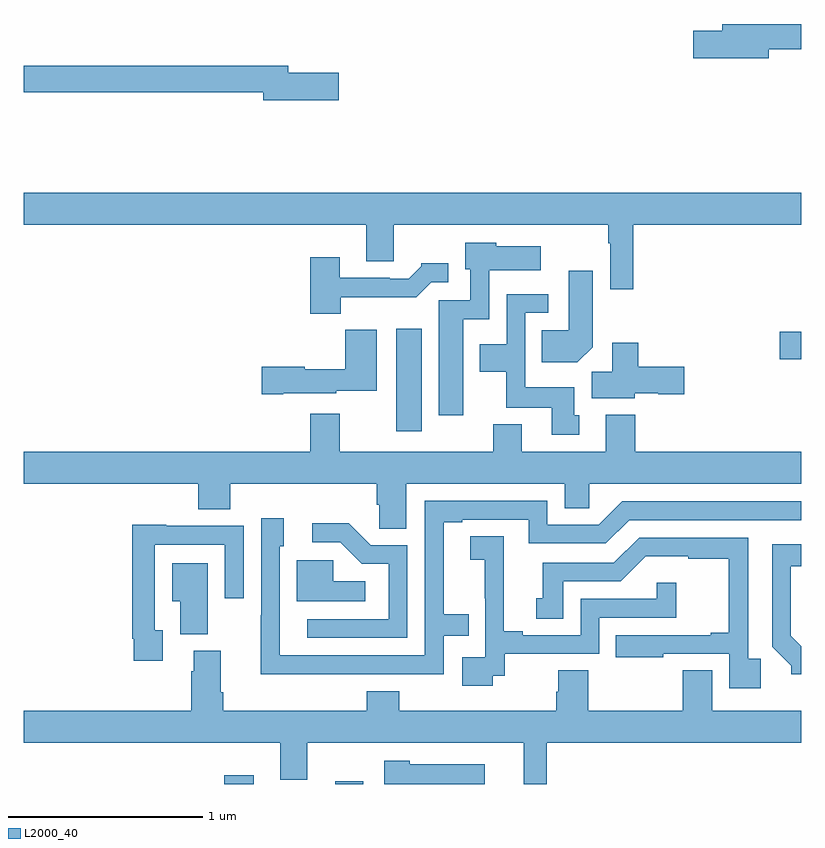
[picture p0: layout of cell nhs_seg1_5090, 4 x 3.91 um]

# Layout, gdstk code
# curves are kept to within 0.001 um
import gdstk
lib = gdstk.Library(unit=1e-6, precision=1e-09)
def R(c, l, rs):  # rectangles x0, y0, x1, y1
    for r in rs: c.add(gdstk.rectangle(r[:2], r[2:], *l))
def P(c, l, *ps):  # polygons
    for p in ps: c.add(gdstk.Polygon(p, *l))
L2000_40 = (2000, 40)

nhs_seg1_5090 = lib.new_cell('nhs_seg1_5090')
R(nhs_seg1_5090, L2000_40, [(388.031,538.199,388.183,538.243), (388.602,538.199,388.747,538.213), (388.916,540.012,389.047,540.541), (390.888,540.382,391,540.524)])
P(nhs_seg1_5090, L2000_40, [(390.832,541.978),(391,541.978),(391,542.107),(390.593,542.107),(390.593,542.073),(390.444,542.073),(390.444,541.931),(390.832,541.931)],
  [(388.621,541.856),(388.36,541.856),(388.36,541.892),(387,541.892),(387,541.756),(388.232,541.756),(388.232,541.714),(388.621,541.714)],
  [(390.134,541.076),(391,541.076),(391,541.24),(387,541.24),(387,541.076),(388.763,541.076),(388.763,540.886),(388.903,540.886),(388.903,541.076),(390.006,541.076),(390.006,540.98),(390.018,540.98),(390.018,540.744),(390.134,540.744)],
  [(389.26,540.59),(389.394,540.59),(389.394,540.842),(389.659,540.842),(389.659,540.964),(389.43,540.964),(389.43,540.982),(389.27,540.982),(389.27,540.846),(389.298,540.846),(389.298,540.687),(389.135,540.687),(389.135,540.096),(389.26,540.096)],
  [(388.63,540.702),(389.019,540.702),(389.097,540.78),(389.185,540.78),(389.185,540.877),(389.046,540.877),(389.046,540.862),(388.982,540.798),(388.883,540.798),(388.883,540.801),(388.627,540.801),(388.627,540.907),(388.475,540.907),(388.475,540.617),(388.63,540.617)],
  [(389.926,540.446),(389.926,540.838),(389.804,540.838),(389.804,540.532),(389.665,540.532),(389.665,540.368),(389.848,540.368)],
  [(389.857,540.096),(389.833,540.096),(389.833,540.238),(389.58,540.238),(389.58,540.621),(389.698,540.621),(389.698,540.717),(389.484,540.717),(389.484,540.46),(389.345,540.46),(389.345,540.32),(389.482,540.32),(389.482,540.134),(389.717,540.134),(389.717,539.994),(389.857,539.994)],
  [(388.336,540.209),(388.608,540.209),(388.608,540.221),(388.816,540.221),(388.816,540.535),(388.654,540.535),(388.654,540.331),(388.446,540.331),(388.446,540.344),(388.224,540.344),(388.224,540.202),(388.336,540.202)],
  [(390.144,540.209),(390.264,540.209),(390.264,540.202),(390.397,540.202),(390.397,540.344),(390.161,540.344),(390.161,540.469),(390.026,540.469),(390.026,540.32),(389.921,540.32),(389.921,540.182),(390.144,540.182)],
  [(388.969,539.744),(389.783,539.744),(389.783,539.617),(389.91,539.617),(389.91,539.744),(391,539.744),(391,539.908),(390.146,539.908),(390.146,540.097),(389.993,540.097),(389.993,539.908),(389.563,539.908),(389.563,540.049),(389.416,540.049),(389.416,539.908),(388.627,539.908),(388.627,540.103),(388.475,540.103),(388.475,539.908),(387,539.908),(387,539.744),(387.899,539.744),(387.899,539.611),(388.064,539.611),(388.064,539.744),(388.817,539.744),(388.817,539.635),(388.83,539.635),(388.83,539.512),(388.969,539.512)],
  [(388.682,538.764),(389.16,538.764),(389.16,538.962),(389.288,538.962),(389.288,539.071),(389.161,539.071),(389.161,539.544),(389.257,539.544),(389.257,539.559),(389.598,539.559),(389.598,539.436),(389.994,539.436),(390.114,539.556),(391,539.556),(391,539.652),(390.078,539.652),(389.958,539.532),(389.694,539.532),(389.694,539.655),(389.064,539.655),(389.064,538.86),(388.317,538.86),(388.317,539.421),(388.339,539.421),(388.339,539.566),(388.221,539.566),(388.22,538.763)],
  [(388.974,539.427),(388.785,539.427),(388.672,539.54),(388.485,539.54),(388.485,539.442),(388.629,539.442),(388.74,539.331),(388.878,539.331),(388.878,539.046),(388.458,539.046),(388.458,538.95),(388.974,538.95)],
  [(387.715,538.989),(387.675,538.989),(387.675,539.43),(388.035,539.43),(388.035,539.154),(388.131,539.154),(388.131,539.526),(387.735,539.526),(387.735,539.533),(387.559,539.533),(387.559,538.945),(387.567,538.945),(387.567,538.833),(387.715,538.833)],
  [(389.412,538.755),(389.474,538.755),(389.474,538.869),(389.961,538.869),(389.961,539.055),(390.356,539.055),(390.356,539.233),(390.255,539.233),(390.255,539.151),(389.865,539.151),(389.865,538.965),(389.566,538.965),(389.566,538.985),(389.47,538.985),(389.47,539.363),(389.468,539.363),(389.468,539.474),(389.298,539.474),(389.298,539.353),(389.372,539.353),(389.372,539.155),(389.373,539.155),(389.373,538.851),(389.256,538.851),(389.256,538.704),(389.412,538.704)],
  [(390.791,538.843),(390.726,538.843),(390.726,539.466),(390.165,539.466),(390.036,539.337),(389.669,539.337),(389.669,539.154),(389.636,539.154),(389.636,539.05),(389.776,539.05),(389.776,539.241),(390.072,539.241),(390.2,539.369),(390.419,539.369),(390.419,539.358),(390.625,539.358),(390.625,538.978),(390.533,538.978),(390.533,538.965),(390.046,538.965),(390.046,538.85),(390.289,538.85),(390.289,538.869),(390.63,538.869),(390.63,538.692),(390.791,538.692)],
  [(391,538.907),(390.946,538.961),(390.946,539.318),(391,539.318),(391,539.431),(390.849,539.431),(390.849,538.906),(390.948,538.807),(390.948,538.763),(391,538.763)],
  [(388.756,539.242),(388.593,539.242),(388.593,539.349),(388.406,539.349),(388.406,539.138),(388.756,539.138)],
  [(387.946,539.335),(387.764,539.335),(387.764,539.138),(387.806,539.138),(387.806,538.969),(387.946,538.969)],
  [(389.69,538.412),(391,538.412),(391,538.576),(390.541,538.576),(390.541,538.784),(390.389,538.784),(390.389,538.576),(389.903,538.576),(389.903,538.784),(389.75,538.784),(389.75,538.674),(389.738,538.674),(389.738,538.576),(388.931,538.576),(388.931,538.675),(388.766,538.675),(388.766,538.576),(388.028,538.576),(388.028,538.672),(388.015,538.672),(388.015,538.884),(387.875,538.884),(387.875,538.778),(387.863,538.778),(387.863,538.576),(387,538.576),(387,538.412),(388.319,538.412),(388.319,538.222),(388.459,538.222),(388.459,538.412),(389.573,538.412),(389.573,538.199),(389.69,538.199)],
  [(389.371,538.3),(388.986,538.3),(388.986,538.318),(388.854,538.318),(388.854,538.199),(389.371,538.199)])

lib.write_gds('nhs_seg1_5090.gds')
